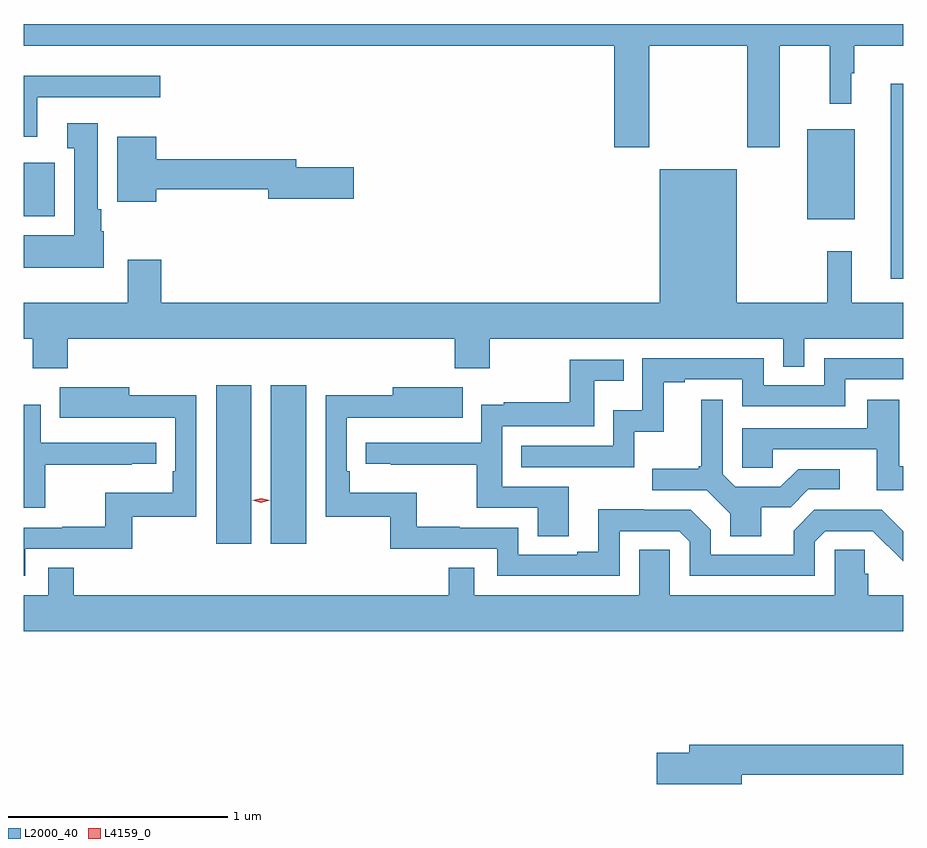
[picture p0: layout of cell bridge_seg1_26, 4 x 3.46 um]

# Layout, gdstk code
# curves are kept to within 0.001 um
import gdstk
lib = gdstk.Library(unit=1e-6, precision=1e-09)
def R(c, l, rs):  # rectangles x0, y0, x1, y1
    for r in rs: c.add(gdstk.rectangle(r[:2], r[2:], *l))
def P(c, l, *ps):  # polygons
    for p in ps: c.add(gdstk.Polygon(p, *l))
L2000_40 = (2000, 40)
L4159_0 = (4159, 0)

bridge_seg1_26 = lib.new_cell('bridge_seg1_26')
R(bridge_seg1_26, L2000_40, [(988.505,581.436,988.666,582.157), (988.754,581.436,988.915,582.157), (991.574,582.642,991.631,583.528), (991.196,582.911,991.411,583.321), (987.631,582.926,987.772,583.168)])
P(bridge_seg1_26, L2000_40, [(987.631,583.7),(990.317,583.7),(990.317,583.239),(990.477,583.239),(990.477,583.7),(990.922,583.7),(990.922,583.239),(991.069,583.239),(991.069,583.7),(991.297,583.7),(991.297,583.437),(991.396,583.437),(991.396,583.577),(991.408,583.577),(991.408,583.7),(991.631,583.7),(991.631,583.8),(987.631,583.8)],
  [(987.691,583.467),(988.252,583.467),(988.252,583.564),(987.631,583.564),(987.631,583.286),(987.691,583.286)],
  [(987.994,582.858),(987.982,582.858),(987.982,582.958),(987.967,582.958),(987.967,583.348),(987.827,583.348),(987.827,583.235),(987.86,583.235),(987.86,582.838),(987.631,582.838),(987.631,582.692),(987.994,582.692)],
  [(988.234,583.048),(988.742,583.048),(988.742,583.006),(989.131,583.006),(989.131,583.148),(988.87,583.148),(988.87,583.184),(988.234,583.184),(988.234,583.288),(988.055,583.288),(988.055,582.992),(988.234,582.992)],
  [(987.83,582.368),(989.591,582.368),(989.591,582.233),(989.751,582.233),(989.751,582.368),(991.086,582.368),(991.086,582.241),(991.182,582.241),(991.182,582.368),(991.631,582.368),(991.631,582.532),(991.397,582.532),(991.397,582.766),(991.287,582.766),(991.287,582.532),(990.874,582.532),(990.874,583.138),(990.524,583.138),(990.524,582.532),(988.256,582.532),(988.256,582.727),(988.103,582.727),(988.103,582.532),(987.631,582.532),(987.631,582.368),(987.67,582.368),(987.67,582.233),(987.83,582.233)],
  [(990.408,581.945),(990.541,581.945),(990.541,582.171),(990.637,582.171),(990.637,582.183),(990.9,582.183),(990.9,582.06),(991.368,582.06),(991.368,582.183),(991.631,582.183),(991.631,582.279),(991.272,582.279),(991.272,582.156),(990.996,582.156),(990.996,582.279),(990.444,582.279),(990.444,582.043),(990.312,582.043),(990.312,581.88),(989.893,581.88),(989.893,581.784),(990.408,581.784)],
  [(990.109,581.694),(989.808,581.694),(989.808,581.97),(990.225,581.97),(990.225,582.176),(990.359,582.176),(990.359,582.273),(990.114,582.273),(990.114,582.079),(989.815,582.079),(989.815,582.067),(989.712,582.067),(989.712,581.895),(989.187,581.895),(989.187,581.799),(989.299,581.799),(989.299,581.794),(989.692,581.794),(989.692,581.598),(989.969,581.598),(989.969,581.47),(990.109,581.47)],
  [(987.636,581.412),(988.123,581.412),(988.123,581.559),(988.416,581.559),(988.416,582.11),(988.111,582.11),(988.111,582.148),(987.793,582.148),(987.793,582.008),(988.007,582.008),(988.007,582.009),(988.32,582.009),(988.32,581.764),(988.307,581.764),(988.307,581.668),(988.002,581.668),(988.002,581.513),(987.805,581.513),(987.805,581.508),(987.631,581.508),(987.631,581.289),(987.636,581.289)],
  [(990.342,581.493),(990.612,581.493),(990.66,581.445),(990.66,581.289),(991.23,581.289),(991.23,581.445),(991.278,581.493),(991.494,581.493),(991.631,581.356),(991.631,581.491),(991.533,581.589),(991.227,581.589),(991.133,581.495),(991.133,581.385),(990.756,581.385),(990.756,581.499),(990.666,581.589),(990.45,581.589),(990.45,581.591),(990.245,581.591),(990.245,581.398),(990.149,581.398),(990.149,581.385),(989.88,581.385),(989.88,581.508),(989.615,581.508),(989.615,581.513),(989.419,581.513),(989.419,581.668),(989.114,581.668),(989.114,581.764),(989.1,581.764),(989.1,582.009),(989.627,582.008),(989.627,582.148),(989.309,582.148),(989.309,582.11),(989.004,582.11),(989.004,581.559),(989.298,581.559),(989.298,581.412),(989.784,581.412),(989.784,581.289),(990.342,581.289)],
  [(991.631,581.788),(991.613,581.788),(991.613,582.091),(991.469,582.091),(991.469,581.961),(990.9,581.961),(990.9,581.781),(991.037,581.781),(991.037,581.865),(991.511,581.865),(991.511,581.679),(991.631,581.679)],
  [(990.985,581.602),(991.12,581.602),(991.2,581.682),(991.342,581.682),(991.342,581.775),(991.154,581.775),(991.073,581.694),(990.867,581.694),(990.81,581.751),(990.81,582.091),(990.713,582.091),(990.713,581.788),(990.702,581.788),(990.702,581.776),(990.489,581.776),(990.489,581.679),(990.738,581.679),(990.845,581.572),(990.845,581.47),(990.985,581.47)],
  [(987.728,581.794),(988.121,581.794),(988.121,581.799),(988.234,581.799),(988.234,581.895),(987.708,581.895),(987.708,582.067),(987.631,582.067),(987.631,581.598),(987.728,581.598)],
  [(991.631,581.2),(991.472,581.2),(991.472,581.298),(991.457,581.298),(991.457,581.408),(991.32,581.408),(991.32,581.2),(990.57,581.2),(990.57,581.408),(990.431,581.408),(990.431,581.2),(989.679,581.2),(989.679,581.327),(989.563,581.327),(989.563,581.2),(987.857,581.2),(987.857,581.327),(987.741,581.327),(987.741,581.2),(987.631,581.2),(987.631,581.036),(991.631,581.036)],
  [(990.898,580.384),(991.631,580.384),(991.631,580.52),(990.659,580.52),(990.659,580.484),(990.51,580.484),(990.51,580.342),(990.898,580.342)])
P(bridge_seg1_26, L4159_0, [(988.71,581.622),(988.67,581.632),(988.67,581.632),(988.67,581.632),(988.71,581.642),(988.75,581.632),(988.75,581.632),(988.75,581.632)])

lib.write_gds('bridge_seg1_26.gds')
